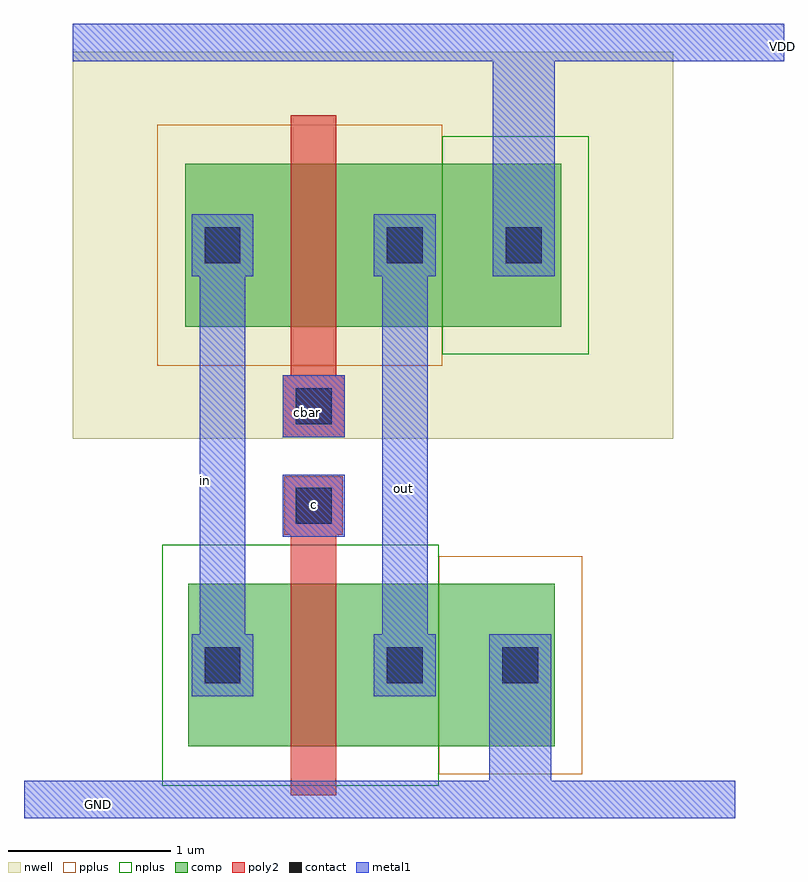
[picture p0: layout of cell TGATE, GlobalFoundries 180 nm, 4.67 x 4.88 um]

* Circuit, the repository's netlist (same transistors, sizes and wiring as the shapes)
** sch_path: /foss/designs/project/TGATE/TGATE.sch
.subckt TGATE out c cbar in
*.PININFO in:I out:O cbar:I c:I
M1 out cbar in VDD pfet_03v3 L=0.28u W=1u nf=1 m=1
M2 out c in GND nfet_03v3 L=0.28u W=1u nf=1 m=1
.ends
.GLOBAL VDD
.GLOBAL GND

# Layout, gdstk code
import gdstk
lib = gdstk.Library(unit=1e-6, precision=5e-09)
def R(c, l, rs):  # rectangles x0, y0, x1, y1
    for r in rs: c.add(gdstk.rectangle(r[:2], r[2:], *l))
nwell = (21, 0)
comp = (22, 0)
poly2 = (30, 0)
pplus = (31, 0)
nplus = (32, 0)
contact = (33, 0)
metal1 = (34, 0)

pfet_1 = lib.new_cell('pfet$1')
R(pfet_1, nwell, [(-1.15,-0.69,2.54,1.69)])
R(pfet_1, comp, [(-0.46,0,0,1), (0,0,0.66,1), (0.66,0,1.12,1), (1.12,0,1.85,1)])
R(pfet_1, poly2, [(0.19,-0.3,0.47,1.3), (0.14,1.3,0.52,1.68)])
R(pfet_1, pplus, [(-0.63,-0.24,1.12,1.24)])
R(pfet_1, nplus, [(1.12,-0.17,2.02,1.17)])
R(pfet_1, contact, [(-0.34,0.39,-0.12,0.61), (0.78,0.39,1,0.61), (1.51,0.39,1.73,0.61), (0.22,1.38,0.44,1.6)])
R(pfet_1, metal1, [(-0.42,0.31,-0.04,0.69), (0.7,0.31,1.08,0.69), (1.43,0.31,1.81,0.69), (0.14,1.3,0.52,1.68)])

tgate = lib.new_cell('TGATE')
R(tgate, comp, [(-0.97,1.82,-0.55,2.82), (-0.55,1.82,0.15,2.82), (0.15,1.82,0.57,2.82), (0.57,1.82,1.28,2.82)])
R(tgate, poly2, [(-0.34,1.52,-0.06,3.12), (-0.38,3.12,-0.02,3.48)])
R(tgate, pplus, [(0.57,1.65,1.45,2.99)])
R(tgate, nplus, [(-1.13,1.58,0.57,3.06)])
R(tgate, contact, [(-0.87,2.21,-0.65,2.43), (0.25,2.21,0.47,2.43), (0.96,2.21,1.18,2.43), (-0.31,3.19,-0.09,3.41)])
R(tgate, metal1, [(-1.98,1.38,2.39,1.61), (0.88,1.61,1.26,2.13), (-0.95,2.13,-0.57,2.51), (0.17,2.13,0.55,2.51), (0.88,2.13,1.26,2.51), (-0.9,2.51,-0.62,4.71), (0.22,2.51,0.5,4.71), (-0.39,3.11,-0.01,3.49), (0.9,5.09,1.28,6.03), (-1.68,6.03,2.69,6.26)])
tgate.add(gdstk.Reference(pfet_1, (-0.53,5.4), x_reflection=True))
tgate.add(gdstk.Label('VDD', (2.68,6.12), layer=34, texttype=10))
tgate.add(gdstk.Label('GND', (-1.525,1.465), layer=34, texttype=10))
tgate.add(gdstk.Label('cbar', (-0.235,3.87), layer=34, texttype=10))
tgate.add(gdstk.Label('c', (-0.195,3.305), layer=34, texttype=10))
tgate.add(gdstk.Label('out', (0.35,3.405), layer=34, texttype=10))
tgate.add(gdstk.Label('in', (-0.865,3.455), layer=34, texttype=10))

lib.write_gds('TGATE.gds')
